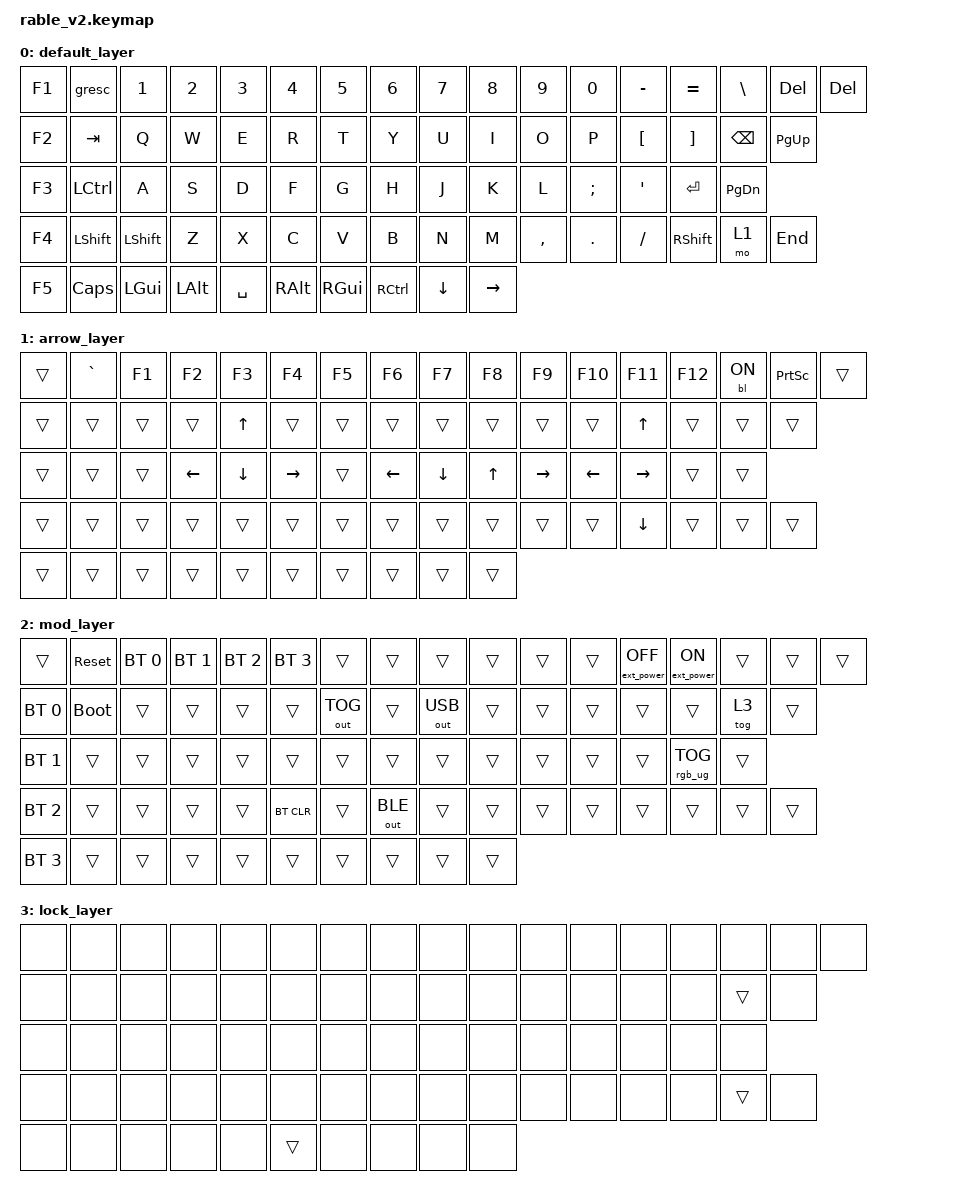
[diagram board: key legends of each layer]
/*
 * Copyright (c) 2021 Nick Winans
 *
 * SPDX-License-Identifier: MIT
 */

#include <behaviors.dtsi>
#include <dt-bindings/zmk/backlight.h>
#include <dt-bindings/zmk/bt.h>
#include <dt-bindings/zmk/ext_power.h>
#include <dt-bindings/zmk/keys.h>
#include <dt-bindings/zmk/outputs.h>
#include <dt-bindings/zmk/rgb.h>

/ {
    keymap {
        compatible = "zmk,keymap";

        default_layer {
            bindings = <
&kp F1  &gresc            &kp N1     &kp N2    &kp N3     &kp N4         &kp N5         &kp N6             &kp N7    &kp N8     &kp N9     &kp N0    &kp MINUS  &kp EQUAL  &kp BACKSLASH  &kp DELETE  &kp DEL
&kp F2  &kp TAB           &kp Q      &kp W     &kp E      &kp R          &kp T          &kp Y              &kp U     &kp I      &kp O      &kp P     &kp LBKT   &kp RBKT   &kp BACKSPACE  &kp PG_UP
&kp F3  &kp LEFT_CONTROL  &kp A      &kp S     &kp D      &kp F          &kp G          &kp H              &kp J     &kp K      &kp L      &kp SEMI  &kp SQT    &kp RET    &kp PG_DN
&kp F4  &kp LSHFT         &kp LSHFT  &kp Z     &kp X      &kp C          &kp V          &kp B              &kp N     &kp M      &kp COMMA  &kp DOT   &kp FSLH   &kp RSHFT  &mo 1          &kp END
&kp F5  &kp CAPSLOCK      &kp LGUI   &kp LALT  &kp SPACE  &kp RIGHT_ALT  &kp RIGHT_GUI  &kp RIGHT_CONTROL  &kp DOWN  &kp RIGHT
            >;
        };

        arrow_layer {
            bindings = <
&trans  &kp GRAVE  &kp F1  &kp F2    &kp F3    &kp F4     &kp F5  &kp F6    &kp F7    &kp F8  &kp F9     &kp F10   &kp F11          &kp F12  &bl BL_ON  &kp PRINTSCREEN  &trans
&trans  &trans     &trans  &trans    &kp UP    &trans     &trans  &trans    &trans    &trans  &trans     &trans    &kp UP_ARROW     &trans   &trans     &trans
&trans  &trans     &trans  &kp LEFT  &kp DOWN  &kp RIGHT  &trans  &kp LEFT  &kp DOWN  &kp UP  &kp RIGHT  &kp LEFT  &kp RIGHT_ARROW  &trans   &trans
&trans  &trans     &trans  &trans    &trans    &trans     &trans  &trans    &trans    &trans  &trans     &trans    &kp DOWN_ARROW   &trans   &trans     &trans
&trans  &trans     &trans  &trans    &trans    &trans     &trans  &trans    &trans    &trans
            >;
        };

        mod_layer {
            bindings = <
&trans        &sys_reset   &bt BT_SEL 0  &bt BT_SEL 1  &bt BT_SEL 2  &bt BT_SEL 3  &trans        &trans        &trans        &trans  &trans  &trans  &ext_power EP_OFF  &ext_power EP_ON  &trans  &trans  &trans
&bt BT_SEL 0  &bootloader  &trans        &trans        &trans        &trans        &out OUT_TOG  &trans        &out OUT_USB  &trans  &trans  &trans  &trans             &trans            &tog 3  &trans
&bt BT_SEL 1  &trans       &trans        &trans        &trans        &trans        &trans        &trans        &trans        &trans  &trans  &trans  &trans             &rgb_ug RGB_TOG   &trans
&bt BT_SEL 2  &trans       &trans        &trans        &trans        &bt BT_CLR    &trans        &out OUT_BLE  &trans        &trans  &trans  &trans  &trans             &trans            &trans  &trans
&bt BT_SEL 3  &trans       &trans        &trans        &trans        &trans        &trans        &trans        &trans        &trans
            >;
        };

        lock_layer {
            bindings = <
&none  &none  &none  &none  &none  &none   &none  &none  &none  &none  &none  &none  &none  &none  &none   &none  &none
&none  &none  &none  &none  &none  &none   &none  &none  &none  &none  &none  &none  &none  &none  &trans  &none
&none  &none  &none  &none  &none  &none   &none  &none  &none  &none  &none  &none  &none  &none  &none
&none  &none  &none  &none  &none  &none   &none  &none  &none  &none  &none  &none  &none  &none  &trans  &none
&none  &none  &none  &none  &none  &trans  &none  &none  &none  &none
            >;
        };
    };
};
